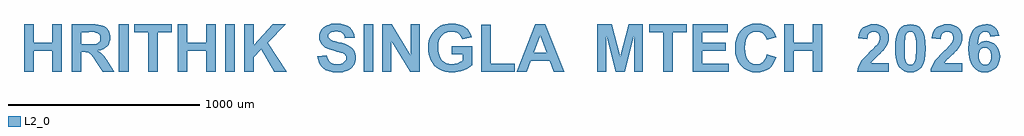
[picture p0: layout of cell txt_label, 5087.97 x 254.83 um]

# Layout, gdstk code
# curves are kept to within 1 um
import gdstk
lib = gdstk.Library(unit=1e-6, precision=1e-09)
def R(c, l, rs):  # rectangles x0, y0, x1, y1
    for r in rs: c.add(gdstk.rectangle(r[:2], r[2:], *l))
def P(c, l, *ps):  # polygons
    for p in ps: c.add(gdstk.Polygon(p, *l))
L2_0 = (2, 0)

txt_label = lib.new_cell('txt_label')
R(txt_label, L2_0, [(520.246,4.432,569.981,250.644), (1074.47,4.432,1123.959,250.644), (1795.379,4.432,1845.114,250.644)])
P(txt_label, L2_0, [(25.114,4.432),(25.114,250.644),(74.849,250.644),(74.849,153.637),(172.349,153.637),(172.349,250.644),(222.083,250.644),(222.083,4.432),(172.349,4.432),(172.349,112.027),(74.849,112.027),(74.849,4.432)],
  [(323.277,209.034),(323.277,250.644),(378.182,250.644),(412.159,248.921),(435.549,243.997),(451.553,234.641),(458.447,228.239),(469.034,211.497),(474.205,192.292),(473.712,168.409),(470.758,156.345),(465.833,145.265),(458.693,135.663),(449.337,127.538),(438.258,120.89),(409.943,113.012),(430.871,97.747),(442.197,85.682),(494.886,4.432),(435.549,4.432),(390.739,70.909),(373.258,94.053),(358.485,104.394),(333.371,107.103),(323.277,107.103),(323.277,4.432),(273.542,4.432),(273.542,250.644),(323.277,250.644),(323.277,146.497),(376.212,146.743),(404.773,149.451),(415.852,156.345),(422.5,168.163),(423.731,178.504),(422.008,189.584),(417.083,198.447),(408.958,204.603),(393.939,208.542)],
  [(672.898,4.432),(672.898,209.034),(599.773,209.034),(599.773,250.644),(795.512,250.644),(795.512,209.034),(722.633,209.034),(722.633,4.432)],
  [(827.765,4.432),(827.765,250.644),(877.254,250.644),(877.254,153.637),(974.754,153.637),(974.754,250.644),(1024.489,250.644),(1024.489,4.432),(974.754,4.432),(974.754,112.027),(877.254,112.027),(877.254,4.432)],
  [(1172.216,4.432),(1172.216,250.644),(1221.705,250.644),(1221.705,141.326),(1322.159,250.644),(1389.129,250.644),(1296.307,154.868),(1394.053,4.432),(1329.792,4.432),(1262.084,119.906),(1221.705,78.788),(1221.705,4.432)],
  [(1555.076,84.451),(1603.334,89.129),(1606.042,77.803),(1614.66,59.83),(1628.201,48.504),(1636.572,44.811),(1646.175,42.841),(1668.334,42.595),(1686.307,47.519),(1693.201,52.197),(1698.372,57.368),(1704.527,69.186),(1705.019,80.265),(1700.341,90.853),(1693.201,96.515),(1682.368,101.44),(1624.016,117.444),(1608.504,123.106),(1595.947,129.508),(1586.591,136.648),(1576.497,147.235),(1569.356,159.053),(1565.171,172.103),(1563.94,186.137),(1566.402,204.356),(1574.527,221.345),(1580.436,228.978),(1595.701,241.288),(1615.644,249.906),(1640.019,254.091),(1675.474,253.599),(1694.186,249.659),(1710.19,243.258),(1723.485,234.641),(1733.58,223.315),(1741.213,210.758),(1746.137,196.231),(1748.107,180.228),(1698.372,178.012),(1693.447,194.262),(1684.584,205.341),(1671.535,211.497),(1653.315,213.712),(1633.864,211.25),(1619.338,204.849),(1613.182,197.955),(1611.459,189.584),(1611.705,185.152),(1615.398,177.765),(1625.247,170.625),(1647.898,162.254),(1695.91,149.451),(1718.069,140.341),(1733.58,129.508),(1745.152,115.228),(1752.538,97.5),(1754.508,87.159),(1754.262,65.739),(1752.046,55.644),(1743.428,36.44),(1729.148,20.436),(1710.19,8.864),(1686.061,2.216),(1656.516,0),(1634.603,1.478),(1615.152,5.417),(1598.656,12.065),(1584.868,21.667),(1573.542,33.485),(1564.925,48.012),(1558.769,65)],
  [(1893.126,4.432),(1893.126,250.644),(1941.383,250.644),(2042.084,86.175),(2042.084,250.644),(2088.372,250.644),(2088.372,4.432),(2038.391,4.432),(1939.167,164.962),(1939.167,4.432)],
  [(2255.55,95.038),(2255.55,136.402),(2362.652,136.402),(2362.652,38.409),(2343.448,24.129),(2317.349,11.572),(2287.311,3.201),(2257.273,0.246),(2238.561,1.231),(2221.08,4.186),(2204.83,9.356),(2190.057,16.25),(2176.27,25.36),(2164.698,35.947),(2154.849,48.504),(2140.323,78.05),(2135.891,94.053),(2133.182,110.796),(2133.429,146.989),(2136.383,164.716),(2148.448,196.724),(2157.311,210.758),(2168.391,223.069),(2181.194,233.656),(2195.72,242.519),(2222.311,251.629),(2254.565,254.83),(2276.232,253.599),(2295.436,249.906),(2312.179,243.997),(2326.213,235.625),(2338.031,225.038),(2347.387,212.728),(2354.527,198.447),(2359.451,182.444),(2309.963,173.334),(2302.576,189.337),(2290.512,201.894),(2274.262,209.773),(2264.906,211.743),(2239.054,211.004),(2225.266,207.065),(2213.201,200.663),(2202.86,191.8),(2194.243,180.228),(2188.334,165.947),(2184.887,149.451),(2183.656,130.493),(2184.887,109.811),(2188.58,91.837),(2194.489,76.818),(2203.107,64.508),(2213.448,54.906),(2225.512,48.012),(2239.054,44.072),(2254.073,42.841),(2277.463,46.042),(2299.868,55.398),(2312.425,63.769),(2312.425,95.038)],
  [(2409.925,4.432),(2409.925,248.675),(2459.414,248.675),(2459.414,45.796),(2583.258,45.796),(2583.258,4.432)],
  [(2715.228,193.277),(2715.228,250.644),(2742.065,250.644),(2840.55,4.432),(2786.63,4.432),(2764.963,60.322),(2666.724,60.322),(2646.289,4.432),(2593.599,4.432),(2689.376,250.644),(2715.228,250.644),(2715.228,193.277),(2681.989,101.932),(2748.959,101.932)],
  [(3014.13,4.432),(3014.13,250.644),(3088.486,250.644),(3133.05,82.728),(3177.368,250.644),(3251.971,250.644),(3251.971,4.432),(3205.683,4.432),(3205.683,198.201),(3156.686,4.432),(3108.921,4.432),(3060.171,198.201),(3060.171,4.432)],
  [(3356.611,4.432),(3356.611,209.034),(3283.486,209.034),(3283.486,250.644),(3479.224,250.644),(3479.224,209.034),(3406.346,209.034),(3406.346,4.432)],
  [(3511.232,4.432),(3511.232,250.644),(3693.921,250.644),(3693.921,209.034),(3560.967,209.034),(3560.967,154.375),(3684.565,154.375),(3684.565,113.012),(3560.967,113.012),(3560.967,45.796),(3698.599,45.796),(3698.599,4.432)],
  [(3898.278,95.038),(3946.535,79.773),(3939.887,60.815),(3931.762,44.318),(3921.422,30.777),(3909.603,19.697),(3895.815,11.08),(3880.304,5.171),(3863.069,1.478),(3844.111,0.246),(3820.721,2.216),(3799.546,8.372),(3780.342,18.959),(3763.599,33.731),(3749.565,51.951),(3739.963,73.372),(3733.808,97.747),(3732.084,125.322),(3733.808,154.129),(3739.963,179.981),(3749.812,201.894),(3763.846,220.853),(3780.834,235.625),(3800.285,246.212),(3822.444,252.614),(3847.312,254.83),(3868.732,253.106),(3887.937,248.182),(3905.418,239.811),(3920.683,228.239),(3935.209,208.788),(3945.797,182.69),(3896.554,171.118),(3893.846,180.228),(3884.49,195.247),(3870.948,206.08),(3854.206,211.497),(3831.554,211.004),(3819.736,207.311),(3809.149,201.156),(3800.285,192.784),(3792.653,181.212),(3787.482,166.932),(3784.281,149.451),(3784.281,107.349),(3787.482,89.129),(3792.653,74.11),(3800.039,62.538),(3808.903,53.921),(3819.243,47.519),(3830.815,43.826),(3843.618,42.841),(3853.221,43.334),(3870.209,49.735),(3884.243,62.292),(3890.153,71.402)],
  [(3989.376,4.432),(3989.376,250.644),(4039.111,250.644),(4039.111,153.637),(4136.365,153.637),(4136.365,250.644),(4186.1,250.644),(4186.1,4.432),(4136.365,4.432),(4136.365,112.027),(4039.111,112.027),(4039.111,4.432)],
  [(4534.244,48.258),(4534.244,4.432),(4368.789,4.432),(4370.759,16.743),(4378.884,40.133),(4393.164,63.277),(4419.755,92.822),(4471.952,144.281),(4481.308,158.069),(4486.232,172.595),(4486.232,187.122),(4482.047,199.186),(4478.353,203.864),(4468.259,210.265),(4454.963,212.481),(4441.668,210.265),(4431.327,203.618),(4424.679,191.8),(4421.478,174.072),(4374.452,178.75),(4377.653,196.724),(4382.823,212.235),(4390.702,224.792),(4400.797,234.641),(4412.369,242.027),(4425.664,247.197),(4440.191,250.398),(4456.194,251.629),(4473.183,250.398),(4488.448,246.705),(4501.99,240.55),(4513.316,231.932),(4522.425,221.345),(4529.073,209.773),(4533.013,196.97),(4534.244,183.182),(4532.766,166.932),(4524.641,143.542),(4515.285,128.031),(4504.206,113.75),(4450.039,61.307),(4440.437,48.258)],
  [(4646.024,212.481),(4646.024,251.629),(4662.766,249.906),(4677.539,245.228),(4690.835,237.103),(4701.914,226.023),(4712.255,208.542),(4719.888,185.89),(4724.319,158.315),(4725.797,125.815),(4724.319,93.315),(4719.888,65.739),(4712.255,43.087),(4701.668,25.36),(4690.588,14.281),(4677.539,6.402),(4662.766,1.724),(4646.024,0.246),(4628.789,1.97),(4613.278,7.14),(4599.736,15.758),(4587.918,27.822),(4578.316,44.318),(4571.422,66.231),(4567.236,93.561),(4566.005,126.307),(4567.482,158.561),(4571.914,186.137),(4579.547,208.542),(4590.134,226.515),(4600.967,237.349),(4614.016,245.228),(4629.035,249.906),(4646.024,251.629),(4646.024,212.481),(4633.96,209.281),(4627.558,203.618),(4622.141,193.769),(4617.956,176.781),(4615.494,145.758),(4616.479,89.129),(4617.71,76.08),(4621.895,58.845),(4630.759,44.811),(4637.653,40.625),(4646.024,39.394),(4653.903,40.625),(4661.289,44.811),(4667.198,52.197),(4673.6,74.849),(4676.554,125.815),(4675.323,162.254),(4672.122,185.398),(4667.198,198.694),(4661.043,207.065),(4653.903,211.004)],
  [(4916.857,48.258),(4916.857,4.432),(4751.403,4.432),(4756.819,28.561),(4767.407,51.459),(4787.596,77.311),(4854.566,144.281),(4863.922,158.069),(4868.846,172.595),(4868.846,187.122),(4864.66,199.186),(4860.967,203.864),(4850.873,210.265),(4837.577,212.481),(4824.282,210.265),(4813.941,203.618),(4807.047,191.8),(4803.846,174.072),(4756.819,178.75),(4760.02,196.724),(4765.437,212.235),(4773.316,224.792),(4783.41,234.641),(4794.982,242.027),(4808.278,247.197),(4822.804,250.398),(4838.808,251.629),(4855.797,250.398),(4871.062,246.705),(4884.604,240.55),(4895.929,231.932),(4905.039,221.345),(4911.687,209.773),(4915.38,196.97),(4916.857,183.182),(4915.38,166.932),(4907.255,143.542),(4897.899,128.031),(4886.819,113.75),(4836.592,65.493),(4823.051,48.258)],
  [(5019.528,249.659),(5038.732,251.629),(5052.028,250.644),(5064.338,247.69),(5075.172,242.766),(5085.02,235.872),(5093.392,227.254),(5100.285,216.667),(5108.657,190.322),(5062.861,185.398),(5059.907,197.462),(5054.244,206.08),(5045.873,211.25),(5035.778,212.974),(5021.99,209.527),(5015.835,205.341),(5010.418,199.432),(5005.74,190.815),(4999.338,162.747),(4997.615,143.542),(5006.725,152.652),(5017.312,159.053),(5034.054,163.485),(5034.054,129.508),(5021.498,126.8),(5011.157,118.921),(5006.725,112.765),(5002.047,97.254),(5002.047,76.572),(5004.263,66.97),(5007.463,58.599),(5017.558,46.288),(5029.623,40.133),(5042.672,39.887),(5048.335,41.856),(5058.183,49.489),(5061.876,55.398),(5066.308,72.387),(5066.308,94.3),(5061.63,112.027),(5057.445,118.182),(5046.857,126.8),(5034.054,129.508),(5034.054,163.485),(5055.475,162.747),(5068.77,158.561),(5080.835,151.667),(5091.914,141.819),(5101.27,129.754),(5107.672,115.966),(5111.857,100.701),(5113.088,83.712),(5111.611,65.739),(5107.672,49.489),(5100.532,35.455),(5090.929,23.144),(5079.111,13.05),(5065.57,5.909),(5050.551,1.478),(5034.054,0.246),(5016.081,1.97),(5000.077,7.387),(4985.551,16.25),(4972.748,29.053),(4962.16,45.796),(4954.528,67.462),(4950.096,93.561),(4948.619,124.091),(4950.342,155.606),(4955.02,182.197),(4962.653,204.356),(4973.732,221.837),(4987.274,234.641),(5002.539,243.997)])

lib.write_gds('txt_label.gds')
